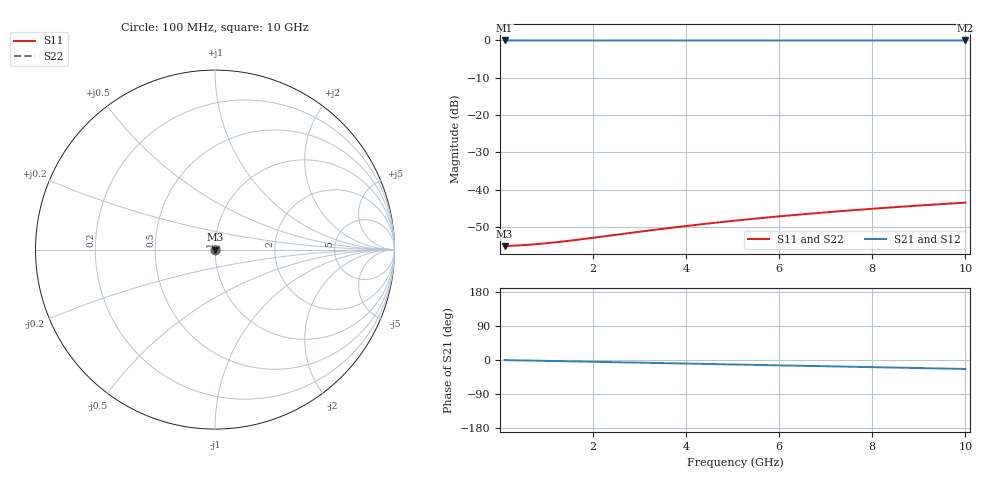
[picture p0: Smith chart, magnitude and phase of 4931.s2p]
# Hz S RI R 50.00
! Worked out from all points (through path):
!   100 points, 100 MHz to 10 GHz, reference 50 ohm
!   highest |S21| = -0.02 dB at 100 MHz (marker M1); lowest = 0.0 dB at 10 GHz (marker M2)
!   group delay of S21, straight-line fit = 6.56 ps
!   lowest |S11| = -55.1 dB at 100 MHz (marker M3), VSWR 1.00, Z = 50.2 + j0.00627 ohm
!   |S11| at or under -10 dB: start of sweep to end of sweep
!   |S22| runs from -55.1 to -43.5 dB; largest |S21 - S12| = 0
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1e8  0.00175 6.25e-05  0.9982 -0.00409  0.9982 -0.00409  0.00175 6.25e-05
5e8  0.00179 0.000312  0.998 -0.0205  0.998 -0.0205  0.00179 0.000312
7e8  0.0018 0.000436  0.9978 -0.0287  0.9978 -0.0287  0.0018 0.000436
9e8  0.00181 0.000559  0.9975 -0.0368  0.9975 -0.0368  0.00181 0.000559
1.1e9  0.00183 0.000682  0.9971 -0.045  0.9971 -0.045  0.00183 0.000682
1.3e9  0.00184 0.000805  0.9967 -0.0532  0.9967 -0.0532  0.00184 0.000805
1.5e9  0.00186 0.000927  0.9963 -0.0614  0.9963 -0.0614  0.00186 0.000927
1.8e9  0.00189 0.00111  0.9954 -0.0736  0.9954 -0.0736  0.00189 0.00111
2.9e9  0.00203 0.00176  0.991 -0.1185  0.991 -0.1185  0.00203 0.00176
3.4e9  0.00211 0.00205  0.9883 -0.1388  0.9883 -0.1388  0.00211 0.00205
3.9e9  0.00221 0.00233  0.9853 -0.1591  0.9853 -0.1591  0.00221 0.00233
4.3e9  0.00229 0.00255  0.9825 -0.1753  0.9825 -0.1753  0.00229 0.00255
4.7e9  0.00238 0.00277  0.9795 -0.1915  0.9795 -0.1915  0.00238 0.00277
5.1e9  0.00248 0.00299  0.9762 -0.2076  0.9762 -0.2076  0.00248 0.00299
5.5e9  0.00258 0.00319  0.9726 -0.2236  0.9726 -0.2236  0.00258 0.00319
5.9e9  0.0027 0.0034  0.9687 -0.2396  0.9687 -0.2396  0.0027 0.0034
6.3e9  0.00281 0.0036  0.9646 -0.2556  0.9646 -0.2556  0.00281 0.0036
6.7e9  0.00294 0.0038  0.9603 -0.2715  0.9603 -0.2715  0.00294 0.0038
7.5e9  0.00321 0.00417  0.9508 -0.303  0.9508 -0.303  0.00321 0.00417
8.4e9  0.00355 0.00457  0.9388 -0.3382  0.9388 -0.3382  0.00355 0.00457
9.2e9  0.00387 0.00491  0.927 -0.3691  0.927 -0.3691  0.00387 0.00491
1e10  0.00422 0.00523  0.9142 -0.3996  0.9142 -0.3996  0.00422 0.00523
